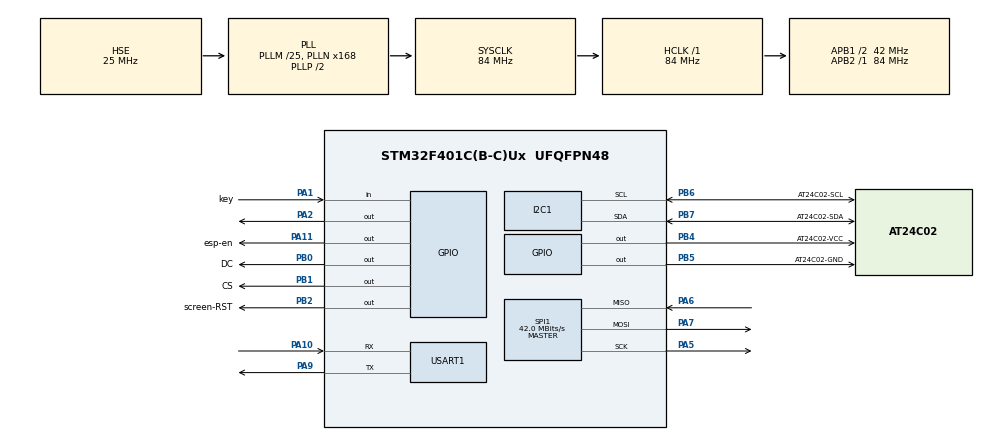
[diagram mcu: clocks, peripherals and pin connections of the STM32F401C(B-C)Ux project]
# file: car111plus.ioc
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Mcu.Family=STM32F4
Mcu.Name=STM32F401C(B-C)Ux
Mcu.Package=UFQFPN48
NVIC.PriorityGroup=NVIC_PRIORITYGROUP_4
PA1.GPIO_Label=key
PA1.GPIO_PuPd=GPIO_PULLDOWN
PA1.Signal=GPIO_Input
PA10.Mode=Asynchronous
PA10.Signal=USART1_RX
PA11.GPIO_Label=esp-en
PA11.GPIO_PuPd=GPIO_PULLUP
PA11.Signal=GPIO_Output
PA13.Mode=Serial_Wire
PA13.Signal=SYS_JTMS-SWDIO
PA14.Mode=Serial_Wire
PA14.Signal=SYS_JTCK-SWCLK
PA2.GPIO_PuPd=GPIO_PULLUP
PA2.Signal=GPIO_Output
PA5.Mode=Full_Duplex_Master
PA5.Signal=SPI1_SCK
PA6.Mode=Full_Duplex_Master
PA6.Signal=SPI1_MISO
PA7.Mode=Full_Duplex_Master
PA7.Signal=SPI1_MOSI
PA9.Mode=Asynchronous
PA9.Signal=USART1_TX
PB0.GPIO_Label=DC
PB0.PinState=GPIO_PIN_SET
PB0.Signal=GPIO_Output
PB1.GPIO_Label=CS
PB1.PinState=GPIO_PIN_SET
PB1.Signal=GPIO_Output
PB2.GPIO_Label=screen-RST
PB2.Signal=GPIO_Output
PB4.GPIO_Label=AT24C02-VCC
PB4.GPIO_PuPd=GPIO_PULLUP
PB4.Signal=GPIO_Output
PB5.GPIO_Label=AT24C02-GND
PB5.GPIO_PuPd=GPIO_PULLDOWN
PB5.Signal=GPIO_Output
PB6.GPIO_Label=AT24C02-SCL
PB6.Mode=I2C
PB6.Signal=I2C1_SCL
PB7.GPIO_Label=AT24C02-SDA
PB7.Mode=I2C
PB7.Signal=I2C1_SDA
PH0\ -\ OSC_IN.Mode=HSE-External-Oscillator
PH0\ -\ OSC_IN.Signal=RCC_OSC_IN
PH1\ -\ OSC_OUT.Mode=HSE-External-Oscillator
PH1\ -\ OSC_OUT.Signal=RCC_OSC_OUT
ProjectManager.HeapSize=0x200
ProjectManager.StackSize=0x400
ProjectManager.TargetToolchain=CMake
RCC.48MHZClocksFreq_Value=42000000
RCC.AHBFreq_Value=84000000
RCC.APB1CLKDivider=RCC_HCLK_DIV2
RCC.APB1Freq_Value=42000000
RCC.APB1TimFreq_Value=84000000
RCC.APB2Freq_Value=84000000
RCC.APB2TimFreq_Value=84000000
RCC.CortexFreq_Value=84000000
RCC.HCLKFreq_Value=84000000
RCC.HSE_VALUE=25000000
RCC.HSI_VALUE=16000000
RCC.LSE_VALUE=32768
RCC.PLLM=25
RCC.PLLN=168
RCC.PLLSourceVirtual=RCC_PLLSOURCE_HSE
RCC.SYSCLKFreq_VALUE=84000000
RCC.SYSCLKSource=RCC_SYSCLKSOURCE_PLLCLK
RCC.VCOOutputFreq_Value=168000000
SPI1.CalculateBaudRate=42.0 MBits/s
SPI1.Direction=SPI_DIRECTION_2LINES
SPI1.Mode=SPI_MODE_MASTER
SPI1.VirtualType=VM_MASTER
USART1.VirtualMode=VM_ASYNC
board=custom

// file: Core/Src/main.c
/* USER CODE BEGIN Header */
/**
  ******************************************************************************
  * @file           : main.c
  * @brief          : Main program body
  ******************************************************************************
  * @attention
  *
  * Copyright (c) 2026 STMicroelectronics.
  * All rights reserved.
  *
  * This software is licensed under terms that can be found in the LICENSE file
  * in the root directory of this software component.
  * If no LICENSE file comes with this software, it is provided AS-IS.
  *
  ******************************************************************************
  */
/* USER CODE END Header */
#include "main.h"

/* USER CODE BEGIN Includes */
#include "gc9a01.h"
#include "lvgl.h"
#include "lv_port_disp.h"
#include "gui_guider.h"
#include "custom.h"
#include "flash_storage.h"
#include "at24c02.h"
#include <stdio.h>
#include <string.h>
/* USER CODE END Includes */

/* USER CODE BEGIN PD */
#define RX_BUF_SIZE 128
#define REFRESH_INTERVAL_MS 100
/* USER CODE END PD */

I2C_HandleTypeDef hi2c1;

SPI_HandleTypeDef hspi1;
DMA_HandleTypeDef hdma_spi1_tx;

UART_HandleTypeDef huart1;
DMA_HandleTypeDef hdma_usart1_rx;

/* USER CODE BEGIN PV */
static uint8_t uart_rx_byte;
static uint8_t rx_buffer[RX_BUF_SIZE];
static uint8_t rx_wr_idx = 0;
static volatile uint8_t rx_ready = 0;

lv_ui guider_ui;
/* USER CODE END PV */

void SystemClock_Config(void);
static void MX_GPIO_Init(void);
static void MX_SPI1_Init(void);
static void MX_USART1_UART_Init(void);
static void MX_I2C1_Init(void);
static void MX_DMA_Init(void);
/* USER CODE BEGIN PFP */
static void ParseRxData(void);
static uint8_t KeyProcess(void);
static void boot_self_test(void);
/* USER CODE END PFP */

/* USER CODE BEGIN 0 */

#include "at24c02.h"
#include "gui_guider.h"

static void draw_term_line(uint16_t y, const char *txt, uint16_t color)
{
    uint16_t len = 0;
    while (txt[len]) len++;

    uint16_t x = 120 - (len * 4);     /* center horizontally for size=1 */
    GC9A01_DrawStringRotated(x, y, txt, color, GC9A01_BLACK, 1);
}

static void boot_self_test(void)
{
    uint16_t y = 52;   /* vertical start, centered block */
    const uint16_t line_h = 10;

    GC9A01_FillScreen(GC9A01_BLACK);

    /* header */
    draw_term_line(y, "=== SYSTEM BOOT ===", GC9A01_CYAN);
    y += line_h;
    HAL_Delay(200);

    /* 1. MCU */
    draw_term_line(y, "MCU   STM32F401  OK", GC9A01_GREEN);
    y += line_h;
    HAL_Delay(120);

    /* 2. Clock */
    draw_term_line(y, "CLK   168MHz     OK", GC9A01_GREEN);
    y += line_h;
    HAL_Delay(120);

    /* 3. I2C1 */
    draw_term_line(y, "I2C1             OK", GC9A01_GREEN);
    y += line_h;
    HAL_Delay(120);

    /* 4. AT24C02 */
    if (at24c02_init() == 0) {
        draw_term_line(y, "AT24C02          OK", GC9A01_GREEN);
    } else {
        draw_term_line(y, "AT24C02          NG", GC9A01_RED);
    }
    y += line_h;
    HAL_Delay(120);

    /* 5. SPI1 */
    draw_term_line(y, "SPI1             OK", GC9A01_GREEN);
    y += line_h;
    HAL_Delay(120);

    /* 6. Display */
    draw_term_line(y, "GC9A01           OK", GC9A01_GREEN);
    y += line_h;
    HAL_Delay(120);

    /* 7. USART1 */
    draw_term_line(y, "USART1 460800    OK", GC9A01_GREEN);
    y += line_h;
    HAL_Delay(120);

    /* 8. LVGL */
    draw_term_line(y, "LVGL  v9.3       OK", GC9A01_GREEN);
    y += line_h;
    HAL_Delay(120);

    /* 9. Flash */
    draw_term_line(y, "FLASH            OK", GC9A01_GREEN);
    y += line_h;
    HAL_Delay(120);

    /* 10. Gauge */
    draw_term_line(y, "GAUGE            OK", GC9A01_GREEN);
    y += line_h;
    HAL_Delay(120);

    /* footer */
    y += line_h;
    draw_term_line(y, "=== READY ===", GC9A01_YELLOW);
    HAL_Delay(500);
}

/* USER CODE END 0 */

int main(void)
{

  /* MCU Configuration--------------------------------------------------------*/

  /* Reset of all peripherals, Initializes the Flash interface and the Systick. */
  HAL_Init();

  /* Configure the system clock */
  SystemClock_Config();

  /* Initialize all configured peripherals */
  MX_DMA_Init();
  MX_GPIO_Init();
  MX_SPI1_Init();
  MX_USART1_UART_Init();
  MX_I2C1_Init();
  /* USER CODE BEGIN 2 */

  /* Pull ESP EN high to enable Wi-Fi module */
  HAL_GPIO_WritePin(GPIOA, esp_en_Pin, GPIO_PIN_SET);

  /* Initialize display */
  GC9A01_Init();

  /* Set memory access control after init (MADCTL) */
  GC9A01_WriteCommand(0x36);
  GC9A01_WriteData(GC9A01_ROTATION);

  /* Self-test boot screen */
  boot_self_test();

  /* Initialize flash storage for persistent gauge index */
  flash_storage_init();

  /* Initialize LVGL and UI */
  lv_init();
  lv_port_disp_init();
  setup_ui(&guider_ui);
  custom_init(&guider_ui);

  /* Enable USART1 RX interrupt (byte-by-byte IT mode) */
  HAL_NVIC_SetPriority(USART1_IRQn, 0, 0);
  HAL_NVIC_EnableIRQ(USART1_IRQn);
  HAL_UART_Receive_IT(&huart1, &uart_rx_byte, 1);

  /* USER CODE END 2 */

  /* Infinite loop */
  while (1)
  {

    /* USER CODE BEGIN 3 */
    if (rx_ready) {
      ParseRxData();
    }

    uint8_t key_action = KeyProcess();
    if (key_action == 2) {
      power_toggle();
    } else if (key_action == 1 && is_power_on()) {
      gauge_next_page();
      update_gauge_display(&guider_ui);
    }

    gauge_process_pending_save();

    if (is_power_on()) {
      uint32_t time_till_next = lv_timer_handler();
      if (time_till_next > 5) time_till_next = 5; /* Cap at 5ms for more responsive UI */
      if (time_till_next < 1) time_till_next = 1;
      HAL_Delay(time_till_next);
    } else {
      /* In power-off state, slow down the loop to save power */
      HAL_Delay(50);
    }
  }
  /* USER CODE END 3 */
}

void SystemClock_Config(void)
{
  RCC_OscInitTypeDef RCC_OscInitStruct = {0};
  RCC_ClkInitTypeDef RCC_ClkInitStruct = {0};

  /** Configure the main internal regulator output voltage
  */
  __HAL_RCC_PWR_CLK_ENABLE();
  __HAL_PWR_VOLTAGESCALING_CONFIG(PWR_REGULATOR_VOLTAGE_SCALE2);

  /** Initializes the RCC Oscillators according to the specified parameters
  * in the RCC_OscInitTypeDef structure.
  */
  RCC_OscInitStruct.OscillatorType = RCC_OSCILLATORTYPE_HSE;
  RCC_OscInitStruct.HSEState = RCC_HSE_ON;
  RCC_OscInitStruct.PLL.PLLState = RCC_PLL_ON;
  RCC_OscInitStruct.PLL.PLLSource = RCC_PLLSOURCE_HSE;
  RCC_OscInitStruct.PLL.PLLM = 25;
  RCC_OscInitStruct.PLL.PLLN = 168;
  RCC_OscInitStruct.PLL.PLLP = RCC_PLLP_DIV2;
  RCC_OscInitStruct.PLL.PLLQ = 4;
  if (HAL_RCC_OscConfig(&RCC_OscInitStruct) != HAL_OK)
  {
    Error_Handler();
  }

  /** Initializes the CPU, AHB and APB buses clocks
  */
  RCC_ClkInitStruct.ClockType = RCC_CLOCKTYPE_HCLK|RCC_CLOCKTYPE_SYSCLK
                              |RCC_CLOCKTYPE_PCLK1|RCC_CLOCKTYPE_PCLK2;
  RCC_ClkInitStruct.SYSCLKSource = RCC_SYSCLKSOURCE_PLLCLK;
  RCC_ClkInitStruct.AHBCLKDivider = RCC_SYSCLK_DIV1;
  RCC_ClkInitStruct.APB1CLKDivider = RCC_HCLK_DIV2;
  RCC_ClkInitStruct.APB2CLKDivider = RCC_HCLK_DIV1;

  if (HAL_RCC_ClockConfig(&RCC_ClkInitStruct, FLASH_LATENCY_2) != HAL_OK)
  {
    Error_Handler();
  }
}

static void MX_I2C1_Init(void)
{

  hi2c1.Instance = I2C1;
  hi2c1.Init.ClockSpeed = 100000;
  hi2c1.Init.DutyCycle = I2C_DUTYCYCLE_2;
  hi2c1.Init.OwnAddress1 = 0;
  hi2c1.Init.AddressingMode = I2C_ADDRESSINGMODE_7BIT;
  hi2c1.Init.DualAddressMode = I2C_DUALADDRESS_DISABLE;
  hi2c1.Init.OwnAddress2 = 0;
  hi2c1.Init.GeneralCallMode = I2C_GENERALCALL_DISABLE;
  hi2c1.Init.NoStretchMode = I2C_NOSTRETCH_DISABLE;
  if (HAL_I2C_Init(&hi2c1) != HAL_OK)
  {
    Error_Handler();
  }

}

static void MX_SPI1_Init(void)
{

  /* SPI1 parameter configuration*/
  hspi1.Instance = SPI1;
  hspi1.Init.Mode = SPI_MODE_MASTER;
  hspi1.Init.Direction = SPI_DIRECTION_2LINES;
  hspi1.Init.DataSize = SPI_DATASIZE_8BIT;
  hspi1.Init.CLKPolarity = SPI_POLARITY_LOW;
  hspi1.Init.CLKPhase = SPI_PHASE_1EDGE;
  hspi1.Init.NSS = SPI_NSS_SOFT;
  hspi1.Init.BaudRatePrescaler = SPI_BAUDRATEPRESCALER_2;
  hspi1.Init.FirstBit = SPI_FIRSTBIT_MSB;
  hspi1.Init.TIMode = SPI_TIMODE_DISABLE;
  hspi1.Init.CRCCalculation = SPI_CRCCALCULATION_DISABLE;
  hspi1.Init.CRCPolynomial = 10;
  if (HAL_SPI_Init(&hspi1) != HAL_OK)
  {
    Error_Handler();
  }

}

static void MX_USART1_UART_Init(void)
{

  huart1.Instance = USART1;
  huart1.Init.BaudRate = 460800;
  huart1.Init.WordLength = UART_WORDLENGTH_8B;
  huart1.Init.StopBits = UART_STOPBITS_1;
  huart1.Init.Parity = UART_PARITY_NONE;
  huart1.Init.Mode = UART_MODE_TX_RX;
  huart1.Init.HwFlowCtl = UART_HWCONTROL_NONE;
  huart1.Init.OverSampling = UART_OVERSAMPLING_16;
  if (HAL_UART_Init(&huart1) != HAL_OK)
  {
    Error_Handler();
  }

}

static void MX_GPIO_Init(void)
{
  GPIO_InitTypeDef GPIO_InitStruct = {0};

  /* GPIO Ports Clock Enable */
  __HAL_RCC_GPIOH_CLK_ENABLE();
  __HAL_RCC_GPIOA_CLK_ENABLE();
  __HAL_RCC_GPIOB_CLK_ENABLE();

  /*Configure GPIO pin Output Level */
  HAL_GPIO_WritePin(GPIOA, GPIO_PIN_2, GPIO_PIN_SET);    /* PA2 = HIGH: key active-high pull-up */
  HAL_GPIO_WritePin(GPIOA, esp_en_Pin, GPIO_PIN_RESET);

  /*Configure GPIO pin Output Level */
  HAL_GPIO_WritePin(GPIOB, DC_Pin|CS_Pin, GPIO_PIN_SET);

  /*Configure GPIO pin Output Level */
  HAL_GPIO_WritePin(GPIOB, screen_RST_Pin|AT24C02_VCC_Pin|AT24C02_GND_Pin, GPIO_PIN_RESET);

  /*Configure GPIO pin : key_Pin */
  GPIO_InitStruct.Pin = key_Pin;
  GPIO_InitStruct.Mode = GPIO_MODE_INPUT;
  GPIO_InitStruct.Pull = GPIO_PULLDOWN;
  HAL_GPIO_Init(key_GPIO_Port, &GPIO_InitStruct);

  /*Configure GPIO pins : PA2 esp_en_Pin */
  GPIO_InitStruct.Pin = GPIO_PIN_2|esp_en_Pin;
  GPIO_InitStruct.Mode = GPIO_MODE_OUTPUT_PP;
  GPIO_InitStruct.Pull = GPIO_PULLUP;
  GPIO_InitStruct.Speed = GPIO_SPEED_FREQ_LOW;
  HAL_GPIO_Init(GPIOA, &GPIO_InitStruct);

  /*Configure GPIO pins : DC_Pin CS_Pin screen_RST_Pin */
  GPIO_InitStruct.Pin = DC_Pin|CS_Pin|screen_RST_Pin;
  GPIO_InitStruct.Mode = GPIO_MODE_OUTPUT_PP;
  GPIO_InitStruct.Pull = GPIO_NOPULL;
  GPIO_InitStruct.Speed = GPIO_SPEED_FREQ_LOW;
  HAL_GPIO_Init(GPIOB, &GPIO_InitStruct);

  /*Configure GPIO pin : AT24C02_VCC_Pin */
  GPIO_InitStruct.Pin = AT24C02_VCC_Pin;
  GPIO_InitStruct.Mode = GPIO_MODE_OUTPUT_PP;
  GPIO_InitStruct.Pull = GPIO_PULLUP;
  GPIO_InitStruct.Speed = GPIO_SPEED_FREQ_LOW;
  HAL_GPIO_Init(AT24C02_VCC_GPIO_Port, &GPIO_InitStruct);

  /*Configure GPIO pin : AT24C02_GND_Pin */
  GPIO_InitStruct.Pin = AT24C02_GND_Pin;
  GPIO_InitStruct.Mode = GPIO_MODE_OUTPUT_PP;
  GPIO_InitStruct.Pull = GPIO_PULLDOWN;
  GPIO_InitStruct.Speed = GPIO_SPEED_FREQ_LOW;
  HAL_GPIO_Init(AT24C02_GND_GPIO_Port, &GPIO_InitStruct);

  /* USER CODE BEGIN MX_GPIO_Init_2 */
  /* Power on AT24C02 module (PB4 = VCC, PB5 = GND) */
  HAL_GPIO_WritePin(AT24C02_VCC_GPIO_Port, AT24C02_VCC_Pin, GPIO_PIN_SET);
  HAL_GPIO_WritePin(AT24C02_GND_GPIO_Port, AT24C02_GND_Pin, GPIO_PIN_RESET);
  /* USER CODE END MX_GPIO_Init_2 */
}

/* USER CODE BEGIN 4 */

/**
  * @brief  UART RX complete callback (byte-by-byte IT mode).
  * @param  huart UART handle.
  * @retval None
  */
void HAL_UART_RxCpltCallback(UART_HandleTypeDef *huart)
{
  if (huart->Instance != USART1) {
    return;
  }

  uint8_t ch = uart_rx_byte;
  if (ch == '[') {
    rx_wr_idx = 0;
    rx_buffer[rx_wr_idx++] = ch;
  } else if (rx_wr_idx > 0 && rx_wr_idx < RX_BUF_SIZE) {
    rx_buffer[rx_wr_idx++] = ch;
    if (ch == ']') {
      rx_buffer[rx_wr_idx] = '\0';
      rx_ready = 1;
      rx_wr_idx = 0;
    }
  }

  HAL_UART_Receive_IT(&huart1, &uart_rx_byte, 1);
}

/**
  * @brief  Parse received data frame.
  * @retval None
  */
static void ParseRxData(void)
{
  rx_ready = 0;

  int load = 0, tmp = 0, rpm = 0, spd = 0, maf = 0, thr = 0;
  int n = sscanf((char *)rx_buffer,
                 "[LOAD=%d TMP=%d RPM=%d SPD=%d MAF=%d THR=%d]",
                 &load, &tmp, &rpm, &spd, &maf, &thr);

  if (n == 6) {
    gauge_set_value(GAUGE_LOAD, (int16_t)load);
    gauge_set_value(GAUGE_TMP,  (int16_t)tmp);
    gauge_set_value(GAUGE_RPM,  (int16_t)rpm);
    gauge_set_value(GAUGE_SPD,  (int16_t)spd);
    gauge_set_value(GAUGE_MAF,  (int16_t)maf);
    gauge_set_value(GAUGE_THR,  (int16_t)thr);

    /* Throttle UI updates to max ~30 fps to avoid overwhelming LVGL renderer */
    static uint32_t last_update = 0;
    uint32_t now = HAL_GetTick();
    if (now - last_update >= 33) {
      update_gauge_display(&guider_ui);
      last_update = now;
    }
  }
}

/**
  * @brief  Process key press, distinguish short and long press.
  * @retval 0 = none, 1 = short press, 2 = long press.
  */
static uint8_t KeyProcess(void)
{
  static uint32_t press_start = 0;
  static uint8_t last_pressed = 0;
  static uint8_t long_press_done = 0;
  uint8_t result = 0;

  uint32_t now = HAL_GetTick();
  uint8_t pressed = (HAL_GPIO_ReadPin(key_GPIO_Port, key_Pin) == GPIO_PIN_SET);

  if (pressed && !last_pressed) {
    press_start = now;
    long_press_done = 0;
    last_pressed = 1;
  } else if (pressed && last_pressed) {
    if (!long_press_done && (now - press_start >= 1000)) {
      result = 2; /* long press */
      long_press_done = 1;
    }
  } else if (!pressed && last_pressed) {
    if (!long_press_done && (now - press_start >= 30)) {
      result = 1; /* short press */
    }
    last_pressed = 0;
  }

  return result;
}

/**
  * @brief DMA Initialization Function
  * @param None
  * @retval None
  */
static void MX_DMA_Init(void)
{
  __HAL_RCC_DMA2_CLK_ENABLE();

  hdma_spi1_tx.Instance = DMA2_Stream3;
  hdma_spi1_tx.Init.Channel = DMA_CHANNEL_3;
  hdma_spi1_tx.Init.Direction = DMA_MEMORY_TO_PERIPH;
  hdma_spi1_tx.Init.PeriphInc = DMA_PINC_DISABLE;
  hdma_spi1_tx.Init.MemInc = DMA_MINC_ENABLE;
  hdma_spi1_tx.Init.PeriphDataAlignment = DMA_PDATAALIGN_BYTE;
  hdma_spi1_tx.Init.MemDataAlignment = DMA_MDATAALIGN_BYTE;
  hdma_spi1_tx.Init.Mode = DMA_NORMAL;
  hdma_spi1_tx.Init.Priority = DMA_PRIORITY_HIGH;
  hdma_spi1_tx.Init.FIFOMode = DMA_FIFOMODE_DISABLE;
  HAL_DMA_Init(&hdma_spi1_tx);

  __HAL_LINKDMA(&hspi1, hdmatx, hdma_spi1_tx);

  /* USART1 RX DMA (DMA2 Stream2 Channel4) */
  hdma_usart1_rx.Instance = DMA2_Stream2;
  hdma_usart1_rx.Init.Channel = DMA_CHANNEL_4;
  hdma_usart1_rx.Init.Direction = DMA_PERIPH_TO_MEMORY;
  hdma_usart1_rx.Init.PeriphInc = DMA_PINC_DISABLE;
  hdma_usart1_rx.Init.MemInc = DMA_MINC_ENABLE;
  hdma_usart1_rx.Init.PeriphDataAlignment = DMA_PDATAALIGN_BYTE;
  hdma_usart1_rx.Init.MemDataAlignment = DMA_MDATAALIGN_BYTE;
  hdma_usart1_rx.Init.Mode = DMA_NORMAL;
  hdma_usart1_rx.Init.Priority = DMA_PRIORITY_HIGH;
  hdma_usart1_rx.Init.FIFOMode = DMA_FIFOMODE_DISABLE;
  HAL_DMA_Init(&hdma_usart1_rx);

  __HAL_LINKDMA(&huart1, hdmarx, hdma_usart1_rx);

  HAL_NVIC_SetPriority(DMA2_Stream3_IRQn, 1, 0);
  HAL_NVIC_EnableIRQ(DMA2_Stream3_IRQn);
  HAL_NVIC_SetPriority(DMA2_Stream2_IRQn, 1, 0);
  HAL_NVIC_EnableIRQ(DMA2_Stream2_IRQn);
}

/* USER CODE END 4 */

void Error_Handler(void)
{
  __disable_irq();
  while (1)
  {
  }
}
